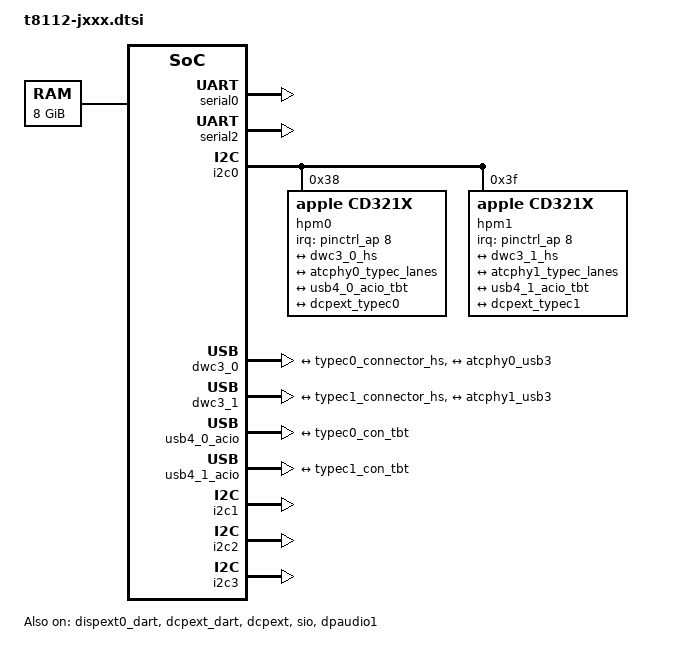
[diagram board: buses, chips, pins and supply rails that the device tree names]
// SPDX-License-Identifier: GPL-2.0+ OR MIT
/*
 * Apple M2 MacBook Air/Pro (M2, 2022)
 *
 * This file contains parts common to all Apple M2 devices using the t8112.
 *
 * target-type: J493, J413
 *
 * Copyright The Asahi Linux Contributors
 */

/ {
	aliases {
		atcphy0 = &atcphy0;
		atcphy1 = &atcphy1;
		dcp = &dcp;
		dcpext = &dcpext;
		disp0 = &display;
		disp0_piodma = &disp0_piodma;
		usb4-0-acio = &usb4_0_acio;
		usb4-0-nhi = &usb4_0_nhi;
		usb4-0-pcie-adapter = &usb4_0_acio;
		usb4-0-pcie = &apciec0;
		usb4-1-acio = &usb4_1_acio;
		usb4-1-nhi = &usb4_1_nhi;
		usb4-1-pcie-adapter = &usb4_1_acio;
		usb4-1-pcie = &apciec1;
		serial0 = &serial0;
		serial2 = &serial2;
		sio = &sio;
	};

	chosen {
		#address-cells = <2>;
		#size-cells = <2>;
		ranges;

		stdout-path = "serial0";

		framebuffer0: framebuffer@0 {
			compatible = "apple,simple-framebuffer", "simple-framebuffer";
			reg = <0 0 0 0>; /* To be filled by loader */
			power-domains = <&ps_disp0_cpu0>;
			/* Format properties will be added by loader */
			status = "disabled";
		};
	};

	memory@800000000 {
		device_type = "memory";
		reg = <0x8 0 0x2 0>; /* To be filled by loader */
	};
};

&serial0 {
	status = "okay";
};

&serial2 {
	status = "okay";
};

&i2c0 {
	status = "okay";

	hpm0: usb-pd@38 {
		compatible = "apple,cd321x";
		reg = <0x38>;
		interrupt-parent = <&pinctrl_ap>;
		interrupts = <8 IRQ_TYPE_LEVEL_LOW>;
		interrupt-names = "irq";

		typec0: connector {
			compatible = "usb-c-connector";
			power-role = "dual";
			data-role = "dual";
#ifndef T8112_TYPEC_DCP
			displayport = <&dcpext>;
#endif

			ports {
				#address-cells = <1>;
				#size-cells = <0>;
				port@0 {
					reg = <0>;
					typec0_connector_hs: endpoint {
						remote-endpoint = <&dwc3_0_hs>;
					};
				};
				port@1 {
					reg = <1>;
					typec0_connector_ss: endpoint {
						remote-endpoint = <&atcphy0_typec_lanes>;
					};
				};

				port@2 {
					reg = <2>;
					typec0_con_tbt: endpoint {
						remote-endpoint = <&usb4_0_acio_tbt>;
					};
				};

#ifndef T8112_TYPEC_DCP
				port@3 {
					reg = <3>;
					typec0_dcp: endpoint {
						remote-endpoint = <&dcpext_typec0>;
					};
				};
#endif
			};
		};
	};

	hpm1: usb-pd@3f {
		compatible = "apple,cd321x";
		reg = <0x3f>;
		interrupt-parent = <&pinctrl_ap>;
		interrupts = <8 IRQ_TYPE_LEVEL_LOW>;
		interrupt-names = "irq";

		typec1: connector {
			compatible = "usb-c-connector";
			power-role = "dual";
			data-role = "dual";

#ifndef T8112_TYPEC_DCP
			displayport = <&dcpext>;
#endif

			ports {
				#address-cells = <1>;
				#size-cells = <0>;
				port@0 {
					reg = <0>;
					typec1_connector_hs: endpoint {
						remote-endpoint = <&dwc3_1_hs>;
					};
				};
				port@1 {
					reg = <1>;
					typec1_connector_ss: endpoint {
						remote-endpoint = <&atcphy1_typec_lanes>;
					};
				};

				port@2 {
					reg = <2>;
					typec1_con_tbt: endpoint {
						remote-endpoint = <&usb4_1_acio_tbt>;
					};
				};

#ifndef T8112_TYPEC_DCP
				port@3 {
					reg = <3>;
					typec1_dcp: endpoint {
						remote-endpoint = <&dcpext_typec1>;
					};
				};
#endif
			};
		};
	};
};

&display {
	iommus = <&disp0_dart 0>, <&dispext0_dart 0>;
};

&dispext0_dart {
	status = "okay";
};

&dcpext_dart {
	status = "okay";
};

&dcpext_mbox {
	status = "okay";
};

#ifndef T8112_TYPEC_DCP
&dcpext {
	status = "okay";
	apple,connector-type = "USB-C";
	phys = <&atcphy0 PHY_TYPE_DP>, <&atcphy1 PHY_TYPE_DP>;
	phy-names = "typec0", "typec1";
	mux-controls = <&atcphy0_xbar 0>, <&atcphy1_xbar 0>;
	mux-control-names = "typec0", "typec1";
	apple,typec-mux-indices = <2 2>;
	apple,typec-dptx-phys = <0 1>;

	typec-routes {
		#address-cells = <1>;
		#size-cells = <0>;

		route@0 {
			reg = <0>;
			mode-switch;

			port {
				dcpext_typec0: endpoint {
					remote-endpoint = <&typec0_dcp>;
				};
			};
		};

		route@1 {
			reg = <1>;
			mode-switch;

			port {
				dcpext_typec1: endpoint {
					remote-endpoint = <&typec1_dcp>;
				};
			};
		};
	};
};
#endif

/* remove once m1n1 enables sio nodes after setup */
&sio {
	status = "okay";
};

&dpaudio1 {
	status = "okay";
};

&ps_atc0_common {
	apple,always-on; /* Needs to stay on for DP-alt suspend/resume */
};

&ps_atc1_common {
	apple,always-on; /* Needs to stay on for DP-alt suspend/resume */
};

/* USB controllers */
&dwc3_0 {
	ports {
		#address-cells = <1>;
		#size-cells = <0>;

		port@0 {
			reg = <0>;
			dwc3_0_hs: endpoint {
				remote-endpoint = <&typec0_connector_hs>;
			};
		};

		port@1 {
			reg = <1>;
			dwc3_0_ss: endpoint {
				remote-endpoint = <&atcphy0_usb3>;
			};
		};
	};
};

&dwc3_1 {
	ports {
		#address-cells = <1>;
		#size-cells = <0>;

		port@0 {
			reg = <0>;
			dwc3_1_hs: endpoint {
				remote-endpoint = <&typec1_connector_hs>;
			};
		};

		port@1 {
			reg = <1>;
			dwc3_1_ss: endpoint {
				remote-endpoint = <&atcphy1_usb3>;
			};
		};
	};
};

/* Type-C PHYs */
&atcphy0 {
	ports {
		#address-cells = <1>;
		#size-cells = <0>;

		port@0 {
			reg = <0>;
			atcphy0_typec_lanes: endpoint {
				remote-endpoint = <&typec0_connector_ss>;
			};
		};

		port@1 {
			reg = <1>;
			atcphy0_usb3: endpoint {
				remote-endpoint = <&dwc3_0_ss>;
			};
		};
	};
};

&atcphy1 {
	ports {
		#address-cells = <1>;
		#size-cells = <0>;

		port@0 {
			reg = <0>;
			atcphy1_typec_lanes: endpoint {
				remote-endpoint = <&typec1_connector_ss>;
			};
		};

		port@1 {
			reg = <1>;
			atcphy1_usb3: endpoint {
				remote-endpoint = <&dwc3_1_ss>;
			};
		};
	};
};

/* USB4 */
&usb4_0_acio {
	ports {
		#address-cells = <1>;
		#size-cells = <0>;

		/* 1: USB4 port */
		port@1 {
			reg = <1>;
			usb4_0_acio_tbt: endpoint {
				remote-endpoint = <&typec0_con_tbt>;
			};
		};

		/* 2: unused(?) USB4 port */
		/* 3: PCIe */
		/* 4: USB3 */
		/* 5: DP0 */
		/* 6: DP1 */
	};
};

&usb4_1_acio {
	ports {
		#address-cells = <1>;
		#size-cells = <0>;

		/* 1: USB4 port */
		port@1 {
			reg = <1>;
			usb4_1_acio_tbt: endpoint {
				remote-endpoint = <&typec1_con_tbt>;
			};
		};

		/* 2: unused(?) USB4 port */
		/* 3: PCIe */
		/* 4: USB3 */
		/* 5: DP0 */
		/* 6: DP1 */
	};
};

&i2c1 {
	status = "okay";
};

&i2c2 {
	status = "okay";
};

&i2c3 {
	status = "okay";
};

&nco_clkref {
	clock-frequency = <900000000>;
};

#include "hwmon-common.dtsi"

#include "spi1-nvram.dtsi"
